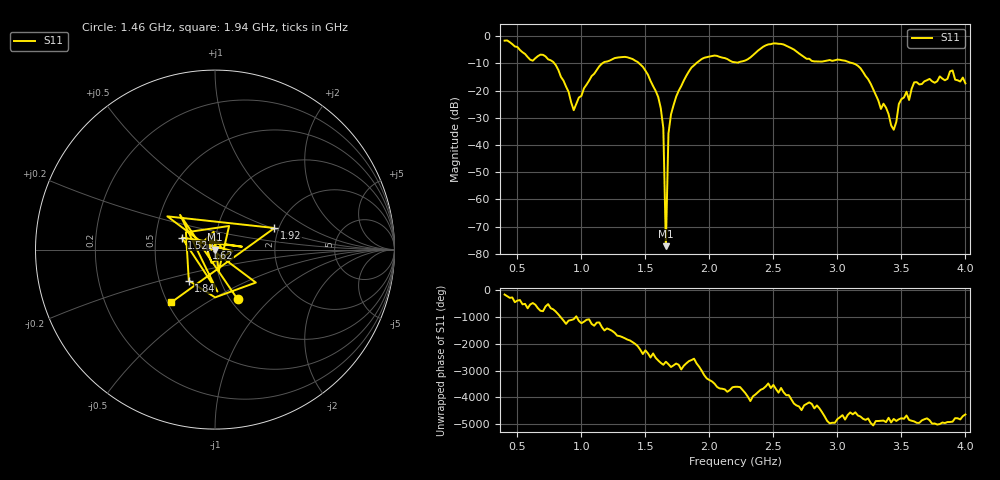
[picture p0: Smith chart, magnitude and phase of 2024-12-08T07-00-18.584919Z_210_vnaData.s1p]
!Created with skrf (http://scikit-rf.org).
# Hz S RI R 50.0
!freq ReS11 ImS11
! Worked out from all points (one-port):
!   181 points, 400 MHz to 4 GHz, reference 50 ohm
!   lowest |S11| = -77.2 dB at 1.66 GHz (marker M1), VSWR 1.00, Z = 50 - j0.00642 ohm
!   |S11| at or under -10 dB: 789.6 MHz to 1.162 GHz (372.4 MHz wide, 38.2 % of centre); 1.452 GHz to 1.895 GHz (443.3 MHz wide, 26.5 % of centre); 3.126 GHz to end of sweep
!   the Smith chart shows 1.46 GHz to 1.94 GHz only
!   S11 on the Smith chart (normalised r, x): 1.46 GHz: 1.08, -0.66; 1.52 GHz: 0.68, +0.09; 1.62 GHz: 0.91, +0.02; 1.84 GHz: 0.71, -0.26; 1.92 GHz: 1.90, +0.52; 1.94 GHz: 0.52, -0.36
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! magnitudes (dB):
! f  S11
! 400 MHz  -1.6
! 720 MHz  -7.4
! 860 MHz  -16.3
! 940 MHz  -27.2
! 1.14 GHz  -11.0
! 1.3 GHz  -7.7
! 1.46 GHz  -10.3
! 1.52 GHz  -14.1
! 1.62 GHz  -26.4
! 1.64 GHz  -33.8
! 1.66 GHz  -77.2
! 1.68 GHz  -35.8
! 1.76 GHz  -20.0
! 1.84 GHz  -12.9
! 1.92 GHz  -9.1
! 1.94 GHz  -8.4
! 2.2 GHz  -9.6
! 2.46 GHz  -3.0
! 2.66 GHz  -4.9
! 3.1 GHz  -9.7
! 3.24 GHz  -15.8
! 3.44 GHz  -34.4
! 3.48 GHz  -24.9
! 3.54 GHz  -20.4
! 3.56 GHz  -23.4
! 3.6 GHz  -16.9
! 3.9 GHz  -12.6
! 4 GHz  -17.3
